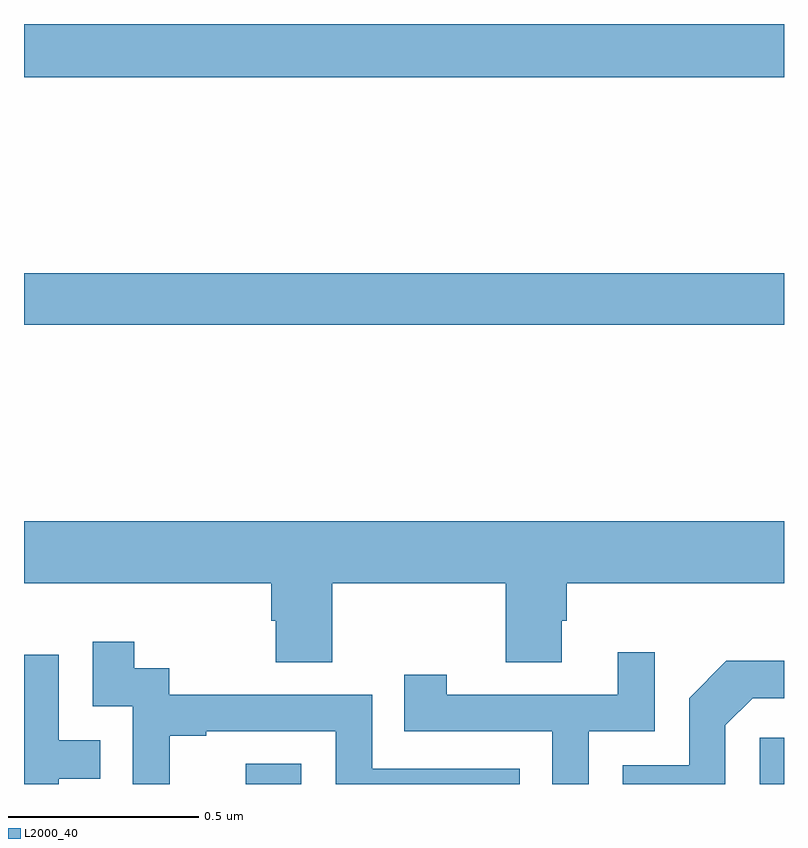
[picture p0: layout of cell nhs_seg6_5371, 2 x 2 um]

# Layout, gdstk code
import gdstk
lib = gdstk.Library(unit=1e-6, precision=1e-09)
def R(c, l, rs):  # rectangles x0, y0, x1, y1
    for r in rs: c.add(gdstk.rectangle(r[:2], r[2:], *l))
def P(c, l, *ps):  # polygons
    for p in ps: c.add(gdstk.Polygon(p, *l))
L2000_40 = (2000, 40)

nhs_seg6_5371 = lib.new_cell('nhs_seg6_5371')
R(nhs_seg6_5371, L2000_40, [(182.583,921.5,182.73,921.553), (183.936,921.5,184,921.622), (182,922.708,184,922.844), (182,923.36,184,923.5)])
P(nhs_seg6_5371, L2000_40, [(182.811,922.028),(183.268,922.028),(183.268,921.82),(183.415,921.82),(183.415,921.93),(183.428,921.93),(183.428,922.028),(184,922.028),(184,922.192),(182,922.192),(182,922.028),(182.651,922.028),(182.651,921.93),(182.663,921.93),(182.663,921.82),(182.811,921.82)],
  [(182.384,921.627),(182.479,921.627),(182.479,921.639),(182.82,921.639),(182.82,921.5),(183.305,921.5),(183.305,921.54),(182.916,921.54),(182.916,921.735),(182.382,921.735),(182.382,921.804),(182.29,921.804),(182.29,921.874),(182.181,921.874),(182.181,921.705),(182.286,921.705),(182.286,921.5),(182.384,921.5)],
  [(183.486,921.639),(183.66,921.639),(183.66,921.847),(183.563,921.847),(183.563,921.735),(183.112,921.735),(183.112,921.787),(183.001,921.787),(183.001,921.639),(183.39,921.639),(183.39,921.5),(183.486,921.5)],
  [(182.091,921.514),(182.201,921.514),(182.201,921.615),(182.091,921.615),(182.091,921.84),(182,921.84),(182,921.5),(182.091,921.5)],
  [(183.846,921.654),(183.918,921.726),(184,921.726),(184,921.824),(183.848,921.824),(183.75,921.726),(183.75,921.549),(183.576,921.549),(183.576,921.5),(183.846,921.5)])

lib.write_gds('nhs_seg6_5371.gds')
